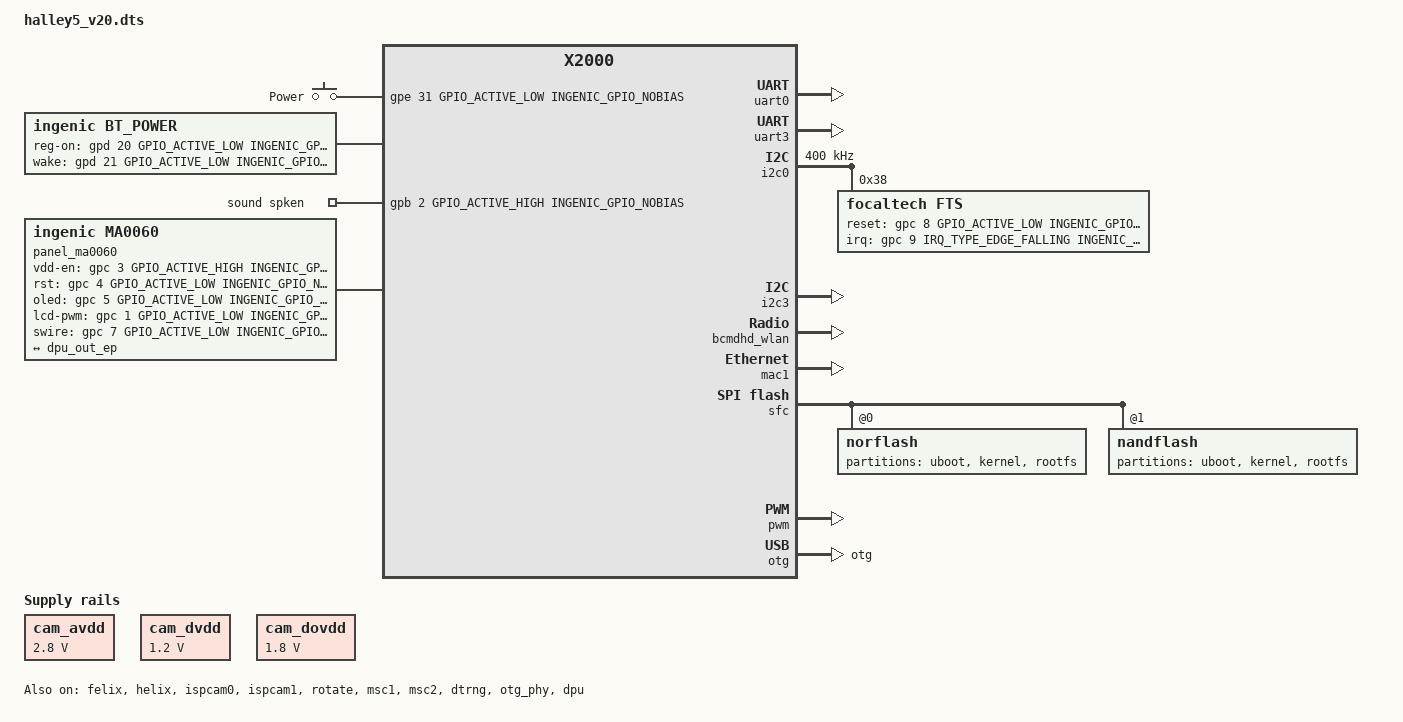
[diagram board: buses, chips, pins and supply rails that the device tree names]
/dts-v1/;

#include <dt-bindings/input/input.h>
#include "x2000.dtsi"
#include <dt-bindings/interrupt-controller/irq.h>
#include <generated/autoconf.h>

#ifdef  CONFIG_RD_X2000_HALLEY5_CAMERA_2V1
#include "halley5_cameras/RD_X2000_HALLEY5_CAMERA_2V1.dtsi"
#elif CONFIG_RD_X2000_HALLEY5_CAMERA_3V2
#include "halley5_cameras/RD_X2000_HALLEY5_CAMERA_3V2.dtsi"
#elif CONFIG_RD_X2000_HALLEY5_CAMERA_4V2
#include "halley5_cameras/RD_X2000_HALLEY5_CAMERA_4V2.dtsi"
#elif CONFIG_RD_X2000_HALLEY5_CAMERA_4V3
#include "halley5_cameras/RD_X2000_HALLEY5_CAMERA_4V3.dtsi"
#elif CONFIG_RD_X2000_HALLEY5_CAMERA_5V0
#include "halley5_cameras/RD_X2000_HALLEY5_CAMERA_5V0.dtsi"
#endif

/ {
	compatible = "ingenic,halley5", "ingenic,x2000";

	/*chosen {
		bootargs = "console=ttyS1,115200 mem=128M@0x0ip=off init=/linuxrc ubi.mtd=3 root=ubi0:rootfs ubi.mtd=4 rootfstype=ubifs rw";
	};*/

	reserved-memory {
		#address-cells = <1>;
		#size-cells = <1>;
		ranges =<>;

		reserved_memory: reserved_mem@0x6000000{
		      compatible = "shared-dma-pool";
		      reg = <0x06000000 0x2000000>;
		};
	};

		  cam_avdd: cam_regulator_avdd {
			  compatible = "regulator-fixed";
			  regulator-name = "cam_avdd";
			  regulator-min-microvolt = <2800000>;
			  regulator-max-microvolt = <2800000>;
			  regulator-always-on;
			  regulator-boot-on;
		  };
		  cam_dvdd: cam_regulator_dvdd {
			  compatible = "regulator-fixed";
			  regulator-name = "cam_dvdd";
			  regulator-min-microvolt = <1200000>;
			  regulator-max-microvolt = <1200000>;
			  regulator-always-on;
			  regulator-boot-on;
		  };
		  cam_dovdd: cam_regulator_dovdd {
			   compatible = "regulator-fixed";
			   regulator-name = "cam_dovdd";
			   regulator-min-microvolt = <1800000>;
			   regulator-max-microvolt = <1800000>;
			   regulator-always-on;
			   regulator-boot-on;
		  };
};

&uart0 {
	status = "okay";
	pinctrl-names = "default";
	pinctrl-0 = <&uart0_pd>;
};

&uart2 {
	status = "disable";
};

&uart3 {
	status = "okay";
	pinctrl-names = "default";
	pinctrl-0 = <&uart3_pc>;
};

&cpufreq {
	status = "okay";
	operating-points = <
		/*KHZ uV */
		1200000	900000
		750000	900000
		600000	900000
		500000	900000
		400000	900000
		375000	900000
		300000	900000
		200000	900000
			>;

};

&pinctrl {
	ingenic,gpa_voltage = <GPIO_VOLTAGE_1V8>;
};

&i2c0 {
	status = "okay";
	clock-frequency = <400000>;
	pinctrl-names = "default";
	pinctrl-0 = <&i2c0_pc>;

	focaltech@0x38{
		compatible = "focaltech,fts"; /* do not modify */
		reg = <0x38>; /* do not modify */
		focaltech,reset-gpio = <&gpc 8 GPIO_ACTIVE_LOW INGENIC_GPIO_NOBIAS>; /* RST pin */
		focaltech,irq-gpio = <&gpc 9 IRQ_TYPE_EDGE_FALLING INGENIC_GPIO_NOBIAS>; /* INT pin */
		focaltech,max-touch-number = <5>;
		focaltech,display-coords = <0 0 1080 1920>;	/* resolution */

		/* key settings */
		focaltech,have-key;
		focaltech,key-number = <3>;
		focaltech,keys = <139 172 158>; /* key codes*/
		focaltech,key-x-coords = <200 600 800>; /* keys x coords */
		focaltech,key-y-coords = <2000 2000 2000>; /* keys y coords */

	};

};

&i2c3 {
	status = "okay";
};

&i2c4 {
	status = "disable";
};


&felix {
	status = "okay";
	memory-region=<&reserved_memory>;
};

&helix {
	status = "okay";
	memory-region=<&reserved_memory>;
};

&ispcam0 {
	status = "okay";
	memory-region=<&reserved_memory>;
};

&ispcam1 {
	status = "okay";
	memory-region=<&reserved_memory>;
};

&rotate {
	status = "okay";
	memory-region=<&reserved_memory>;
};

&pdma {
	status = "okay";
};

&msc0 {
	status = "disable";
	/*mmc-hs200-1_8v;*/
	cap-mmc-highspeed;
	non-removable;
	max-frequency = <50000000>;
	bus-width = <4>;
	non-removable;
	voltage-ranges = <1800 3300>;

	/* special property */
	ingenic,rst-gpios = <0>;
};

&msc1 {
	status = "okay";
	pinctrl-names ="default","enable", "disable";
	pinctrl-0 = <&msc1_4bit>;
	pinctrl-1 = <&rtc32k_enable>;
	pinctrl-2 = <&rtc32k_disable>;

	sd-uhs-sdr104;
	max-frequency = <100000000>;
	bus-width = <4>;
	voltage-ranges = <1800 3300>;
	non-removable;

	ingenic,sdio_clk = <1>;
	keep-power-in-suspend;

	/* special property */
	ingenic,sdr-gpios = <0>;
	ingenic,rst-gpios = <0>;
	ingenic,removal-manual; /*removal-dontcare, removal-nonremovable, removal-removable, removal-manual*/

	bcmdhd_wlan: bcmdhd_wlan {
		 compatible = "android,bcmdhd_wlan";
		 ingenic,sdio-irq = <&gpd 0 IRQ_TYPE_LEVEL_HIGH INGENIC_GPIO_NOBIAS>;
		 ingenic,sdio-reset = <&gpd 1 GPIO_ACTIVE_LOW INGENIC_GPIO_NOBIAS>;
	};
};

&msc2 {
	status = "okay";
	pinctrl-names ="default";
	pinctrl-0 = <&msc2_4bit>;
	sd-uhs-sdr104;
	/*cap-mmc-highspeed;*/
	max-frequency = <200000000>;
	bus-width = <4>;
	voltage-ranges = <1800 3300>;

	/* special property */
	cd-gpios = <&gpc 12 GPIO_ACTIVE_LOW INGENIC_GPIO_NOBIAS>;
	wp-gpios = <0>;
	ingenic,sdr-gpios = <&gpc 0 GPIO_ACTIVE_HIGH INGENIC_GPIO_NOBIAS>;
	ingenic,rst-gpios = <0>;
};


&mac1 {
	pinctrl-names = "default", "reset";
	pinctrl-0 = <&mac1_rgmii_p0_normal>, <&mac1_rgmii_p1_normal>;
	pinctrl-1 = <&mac1_rgmii_p0_rst>, <&mac1_rgmii_p1_normal>;
	status = "okay";
	ingenic,rst-gpio = <&gpb 16 GPIO_ACTIVE_LOW INGENIC_GPIO_NOBIAS>;
	ingenic,rst-ms = <10>;
	ingenic,rst-delay-ms = <15>;
	ingenic,mac-mode = <RGMII>;
	ingenic,mode-reg = <0xb00000e8>;
	ingenic,rx-clk-delay = <0x0>;
	ingenic,tx-clk-delay = <0x3f>;
};

&sfc {
	status = "okay";
	pinctrl-names = "default";
	pinctrl-0 = <&sfc_pe>;
	ingenic,sfc-init-frequency = <200000000>;
	ingenic,sfc-max-frequency = <400000000>;
	ingenic,use_ofpart_info  = /bits/ 8 <0>;
	ingenic,spiflash_param_offset = <0>;

	norflash@0 {
		partitions {
			compatible = "fixed-partitions";
			#address-cells = <1>;
			#size-cells = <1>;

			/* spi nor flash partition */
			uboot@0 {
				label = "uboot";
				reg = <0x0000000 0x40000>;
				/*read-only;*/
			};

			kernel@40000 {
				label = "kernel";
				reg = <0x40000 0x300000>;
			};

			rootfs@360000 {
				label = "rootfs";
				reg = <0x360000 0xca0000>;
			};
		};
	};

	nandflash@1 {
		partitions {
			compatible = "fixed-partitions";
			#address-cells = <1>;
			#size-cells = <1>;

			/* spi nand flash partition */
			partition@0 {
				label = "uboot";
				reg = <0x0000000 0x100000>;
				/*read-only;*/
			};

			partition@100000 {
				label = "kernel";
				reg = <0x100000 0x800000>;
			};

			partition@900000 {
				label = "rootfs";
				reg = <0x900000 0xf700000>;
			};
		};
	};

};

&spi0 {
	status = "disable";
	pinctrl-names = "default";
	pinctrl-0 = <&spi0_pb>;

	spi-max-frequency = <54000000>;
	num-cs = <2>;
	cs-gpios = <0>, <0>;
	/*cs-gpios = <&gpa 27 GPIO_ACTIVE_HIGH INGENIC_GPIO_NOBIAS>, <&gpa 27 GPIO_ACTIVE_HIGH INGENIC_GPIO_NOBIAS>;*/
	ingenic,chnl = <0>;
	ingenic,allow_cs_same = <1>;
	ingenic,bus_num = <0>;
	ingenic,has_dma_support = <0>;
	ingenic,spi-src-clk = <1>;/*0.ext; 1.ssi*/

	/* Add SPI interface device */
	spidev: spidev@0 {
		compatible = "rohm,dh2228fv";
		reg = <0>;
		spi-max-frequency = <10000000>;
	};
};

&dtrng {
	status = "okay";
};

&pwm {
	pinctrl-names = "default";
	pinctrl-0 = <&pwm0_pd>;
	status = "okay";
};

&otg {
	g-use-dma;
	dr_mode = "otg";
	device-using-dma = <1>;
	status = "okay";
};

&otg_phy {
	dr_mode = "otg";
	status = "okay";
	ingenic,id-dete-gpio = <&gpb 29 GPIO_ACTIVE_LOW INGENIC_GPIO_NOBIAS>;
	ingenic,vbus-dete-gpio = <&gpd 17 GPIO_ACTIVE_LOW INGENIC_GPIO_NOBIAS>;
	ingenic,drvvbus-gpio = <&gpe 22 GPIO_ACTIVE_HIGH INGENIC_GPIO_NOBIAS>;
};

&as_be_baic {
	pinctrl-names = "default";
	pinctrl-0 =  <&baic4_pd>;
};

&as_dmic {
	pinctrl-names = "default";
	pinctrl-0 = <&dmic_pc_4ch>;
};

&icodec {
	ingenic,spken-gpio = <&gpb 2 GPIO_ACTIVE_HIGH INGENIC_GPIO_NOBIAS>;
};

&dpu {
	status = "okay";
	ingenic,disable-rdma-fb = <1>;
	/*Defines the init state of composer fb export infomations.*/
	ingenic,layer-exported = <1 1 0 0>;
	ingenic,layer-frames   = <2 2 2 2>;
	ingenic,layer-framesize = <720 1280>, <720 1280>, <320 240>, <320 240>;   /*Max framesize for each layer.*/
	layer,color_mode	= <0 0 0 0>;					/*src fmt,*/
	layer,src-size       	= <720 1280>, <720 1280>, <320 240>, <240 200>;	/*Layer src size should smaller than framesize*/
	layer,target-size	= <720 1280>, <720 640>, <160 240>, <240 200>;	/*Target Size should smaller than src_size.*/
	layer,target-pos	= <0 0>, <0 640>, <340 480>, <100 980>;	/*target pos , the start point of the target panel.*/
	layer,enable		= <1 1 1 1>;					/*layer enabled or disabled.*/
	ingenic,logo-pan-layer	= <0>;						/*on which layer should init logo pan on.*/
	port {
		dpu_out_ep: endpoint {
			remote-endpoint = <&panel_ma0060_ep>;
	    };
	};
};


/ {

	extclk: extclk {
		clock-frequency = <24000000>;
	};

	gpio_keys: gpio_keys {
		   compatible = "gpio-keys";

		   power {
			   label = "Power";
			   linux,code = <KEY_POWER>;
			   gpios = <&gpe 31 GPIO_ACTIVE_LOW INGENIC_GPIO_NOBIAS>;
			   gpio-key,wakeup;
		   };
	   };

	/*
	 * gpd 21 bt wakeup host
	 * gpd 22 host wakeup bt
	 */
	bt_power {
		compatible = "ingenic,bt_power";
		ingenic,reg-on-gpio = <&gpd 20 GPIO_ACTIVE_LOW INGENIC_GPIO_NOBIAS>;
		ingenic,wake-gpio = <&gpd 21 GPIO_ACTIVE_LOW INGENIC_GPIO_NOBIAS>;
	};

	sound {
		compatible = "ingenic,x2000-sound";
		ingenic,model = "halley5_v20";
		ingenic,spken-gpio = <&gpb 2 GPIO_ACTIVE_HIGH INGENIC_GPIO_NOBIAS>;
	};

	display-dbi {
		compatible = "simple-bus";
		#interrupt-cells = <1>;
		#address-cells = <1>;
		#size-cells = <1>;
		ranges = <>;
		panel_ma0060 {
			compatible = "ingenic,ma0060";
			status = "okay";
			pinctrl-names = "default";
			pinctrl-0 = <&smart_lcd_pb_te>;
			ingenic,vdd-en-gpio = <&gpc 3 GPIO_ACTIVE_HIGH INGENIC_GPIO_NOBIAS>;
			ingenic,rst-gpio = <&gpc 4 GPIO_ACTIVE_LOW INGENIC_GPIO_NOBIAS>;
			ingenic,oled-gpio = <&gpc 5 GPIO_ACTIVE_LOW INGENIC_GPIO_NOBIAS>;
			ingenic,lcd-pwm-gpio = <&gpc 1 GPIO_ACTIVE_LOW INGENIC_GPIO_NOBIAS>;
			ingenic,swire-gpio = <&gpc 7 GPIO_ACTIVE_LOW INGENIC_GPIO_NOBIAS>;
			port {
				panel_ma0060_ep: endpoint {
					remote-endpoint = <&dpu_out_ep>;
				};
			};
		};
	};
/*	backlight {
		compatible = "pwm-backlight";
		pwms = <&pwm 1 1000000>;
		brightness-levels = <0 1 2 3 4 5 6 7 8 9 10 11 12 13 14 15>;
		default-brightness-level = <4>;
	};
*/

	spi_gpio {
		status = "disable";
		compatible = "spi-gpio";
		#address-cells = <1>;
		#size-cells = <0>;

		gpio-sck = <&gpb 28 GPIO_ACTIVE_LOW INGENIC_GPIO_NOBIAS>;
		gpio-miso = <&gpb 29 GPIO_ACTIVE_LOW INGENIC_GPIO_NOBIAS>;
		gpio-mosi = <&gpb 30 GPIO_ACTIVE_LOW INGENIC_GPIO_NOBIAS>;
		cs-gpios = <&gpb 31 GPIO_ACTIVE_LOW INGENIC_GPIO_NOBIAS>;
		num-chipselects = <1>;

		/* clients */
		spidev1: spidev1@0 {
			status = "disable";
			compatible = "rohm,dh2228fv";
			reg = <0>;
			spi-max-frequency = <500000>;
		};
	};
};


/* Board Sleep GPIO configuration. */
/* <0 1 2 3 .... 31>, set one of the pin to state.*/
&gpa {
	ingenic,gpio-sleep-pullup 	= <>;
	ingenic,gpio-sleep-pulldown 	= <>;
	ingenic,gpio-sleep-hiz		= <>;
	ingenic,gpio-sleep-low		= <>;
	ingenic,gpio-sleep-high		= <>;
};

&gpb {
	ingenic,gpio-sleep-pullup 	= <>;
	ingenic,gpio-sleep-pulldown 	= <>;
	ingenic,gpio-sleep-hiz		= <>;
	ingenic,gpio-sleep-low		= <>;
	ingenic,gpio-sleep-high		= <>;
};

&gpc {
	ingenic,gpio-sleep-pullup 	= <>;
	ingenic,gpio-sleep-pulldown 	= <>;
	ingenic,gpio-sleep-hiz		= <>;
	ingenic,gpio-sleep-low		= <>;
	ingenic,gpio-sleep-high		= <>;
};

&gpd {
	ingenic,gpio-sleep-pullup 	= <>;
	ingenic,gpio-sleep-pulldown 	= <>;
	ingenic,gpio-sleep-hiz		= <>;
	ingenic,gpio-sleep-low		= <>;
	ingenic,gpio-sleep-high		= <>;
};
